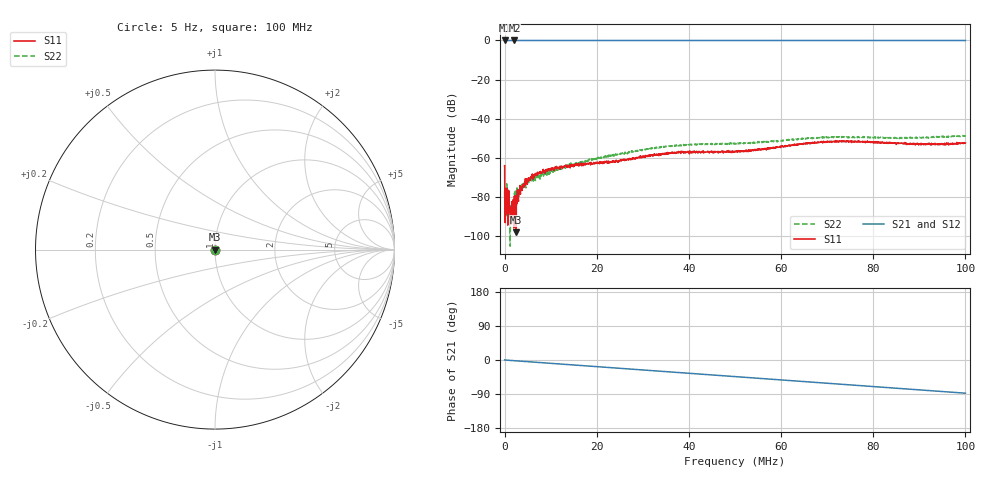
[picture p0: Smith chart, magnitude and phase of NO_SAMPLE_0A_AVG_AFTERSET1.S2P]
!Agilent Technologies,E5061B,MY49102235,A.02.00
!Date: Mon Jul 10 16:38:18 2023
!Data & Calibration Information:
!Freq	S11:SOLT2(ON)	S21:SOLT2(ON)	S12:SOLT2(ON)	S22:SOLT2(ON)
# Hz S RI R 50
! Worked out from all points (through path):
!   1600 points, 5 Hz to 100 MHz, reference 50 ohm
!   highest |S21| = 0.01 dB at 5 Hz (marker M1); lowest = 0.0 dB at 2.126 MHz (marker M2)
!   group delay of S21, straight-line fit = 2.43 ns
!   lowest |S11| = -97.8 dB at 2.502 MHz (marker M3), VSWR 1.00, Z = 50 - j0.00064 ohm
!   |S11| at or under -10 dB: start of sweep to end of sweep
!   |S22| runs from -105.0 to -48.4 dB; largest |S21 - S12| = 0.0026
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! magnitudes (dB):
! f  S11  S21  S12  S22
! 5 Hz  -63.9  0.0  0.0  -77.0
! 562.9 kHz  -75.4  0.0  0.0  -82.7
! 938.1 kHz  -76.7  0.0  0.0  -79.6
! 1.188 MHz  -88.1  0.0  0.0  -105.0
! 2.126 MHz  -79.5  0.0  0.0  -77.9
! 2.502 MHz  -97.8  0.0  0.0  -80.1
! 2.877 MHz  -77.9  0.0  0.0  -76.1
! 4.003 MHz  -73.8  0.0  0.0  -75.1
! 4.816 MHz  -70.8  0.0  0.0  -72.3
! 5.503 MHz  -70.3  0.0  0.0  -71.5
! 7.129 MHz  -67.2  0.0  0.0  -69.4
! 10.01 MHz  -66.4  0.0  0.0  -67.0
! 16.7 MHz  -63.3  0.0  0.0  -61.8
! 24.33 MHz  -61.6  0.0  0.0  -58.3
! 33.33 MHz  -58.4  0.0  0.0  -54.5
! 38.27 MHz  -56.5  0.0  0.0  -53.4
! 50.03 MHz  -56.5  0.0  0.0  -52.6
! 66.73 MHz  -52.1  0.0  0.0  -49.8
! 73.05 MHz  -51.5  0.0  0.0  -49.2
! 83.36 MHz  -52.2  0.0  0.0  -49.7
! 91.31 MHz  -52.7  0.0  0.0  -49.5
! 100 MHz  -52.4  0.0  0.0  -48.4
